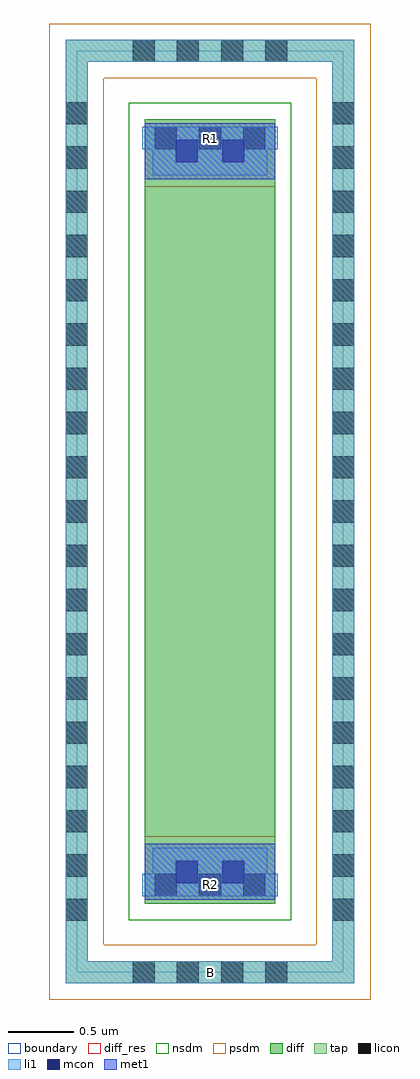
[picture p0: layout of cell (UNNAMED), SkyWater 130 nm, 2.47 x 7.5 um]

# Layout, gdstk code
import gdstk
lib = gdstk.Library(unit=1e-6, precision=1e-09)
def R(c, l, rs):  # rectangles x0, y0, x1, y1
    for r in rs: c.add(gdstk.rectangle(r[:2], r[2:], *l))
def A(c, l, x, y, w, h, nx, ny, dx, dy):  # array of equal rectangles
    R(c, l, [(x+i*dx, y+j*dy, x+i*dx+w, y+j*dy+h) for i in range(nx) for j in range(ny)])
diff_res = (65, 13)
diff = (65, 20)
tap = (65, 44)
licon = (66, 44)
li1 = (67, 20)
mcon = (67, 44)
met1 = (68, 20)
nsdm = (93, 44)
psdm = (94, 20)
boundary = (235, 4)

c__unnamed_ = lib.new_cell('(UNNAMED)')
R(c__unnamed_, diff_res, [(-0.5,-2.5,0.5,2.5)])
R(c__unnamed_, diff, [(-0.5,-3.015,0.5,3.015)])
R(c__unnamed_, tap, [(-1.11,-3.625,1.11,-3.455), (-1.11,-3.455,-0.94,3.455), (0.94,-3.455,1.11,3.455), (-1.11,3.455,1.11,3.625)])
A(c__unnamed_, licon, -0.595, -3.625, 0.17, 0.17, 4, 2, 0.34, 7.08)
A(c__unnamed_, licon, -1.11, -3.145, 0.17, 0.17, 1, 19, 0, 0.34)
A(c__unnamed_, licon, 0.94, -3.145, 0.17, 0.17, 1, 19, 0, 0.34)
A(c__unnamed_, licon, -0.425, -2.955, 0.17, 0.17, 3, 2, 0.34, 5.74)
R(c__unnamed_, li1, [(-1.11,-3.625,1.11,-3.455), (-1.11,-3.455,-0.94,3.455), (0.94,-3.455,1.11,3.455), (-0.52,-2.955,0.52,-2.785), (-0.44,-2.785,0.44,-2.585), (-0.44,2.585,0.44,2.785), (-0.52,2.785,0.52,2.955), (-1.11,3.455,1.11,3.625)])
R(c__unnamed_, mcon, [(-0.265,-2.855,-0.095,-2.685), (0.095,-2.855,0.265,-2.685), (-0.265,2.685,-0.095,2.855), (0.095,2.685,0.265,2.855)])
R(c__unnamed_, met1, [(-0.5,-2.985,0.5,-2.555), (-0.5,2.555,0.5,2.985)])
R(c__unnamed_, nsdm, [(-0.625,-3.14,0.625,3.14)])
R(c__unnamed_, psdm, [(-1.235,-3.75,1.235,-3.33), (-1.235,-3.33,-0.815,3.33), (0.815,-3.33,1.235,3.33), (-1.235,3.33,1.235,3.75)])
R(c__unnamed_, boundary, [(-1.025,-3.54,1.025,3.54)])
c__unnamed_.add(gdstk.Label('B', (0,-3.54), layer=67, texttype=5))
c__unnamed_.add(gdstk.Label('R1', (0,2.87), layer=67, texttype=5))
c__unnamed_.add(gdstk.Label('R2', (0,-2.87), layer=67, texttype=5))

lib.write_gds('_UNNAMED_.gds')
